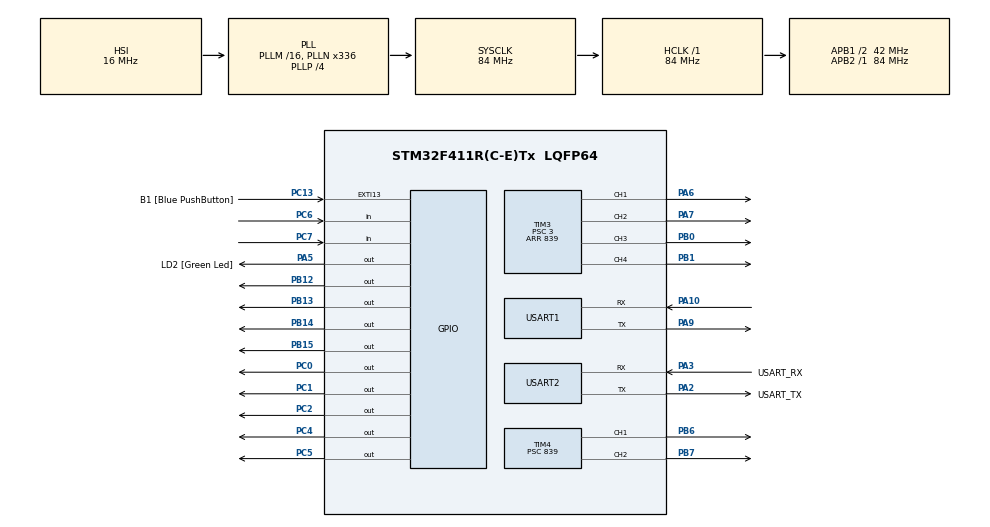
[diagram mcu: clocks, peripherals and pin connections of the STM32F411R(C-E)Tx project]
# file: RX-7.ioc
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Mcu.Family=STM32F4
Mcu.Name=STM32F411R(C-E)Tx
Mcu.Package=LQFP64
NVIC.EXTI15_10_IRQn=true\:0\:1\:true\:false\:true\:true\:true\:true
NVIC.PriorityGroup=NVIC_PRIORITYGROUP_0
NVIC.USART1_IRQn=true\:0\:0\:false\:false\:true\:true\:true\:true
PA10.Mode=Asynchronous
PA10.Signal=USART1_RX
PA13.GPIO_Label=TMS
PA13.Mode=Serial_Wire
PA13.Signal=SYS_JTMS-SWDIO
PA14.GPIO_Label=TCK
PA14.Mode=Serial_Wire
PA14.Signal=SYS_JTCK-SWCLK
PA2.GPIO_Label=USART_TX
PA2.Mode=Asynchronous
PA2.Signal=USART2_TX
PA3.GPIO_Label=USART_RX
PA3.Mode=Asynchronous
PA3.Signal=USART2_RX
PA5.GPIO_Label=LD2 [Green Led]
PA5.Signal=GPIO_Output
PA6.Signal=S_TIM3_CH1
PA7.Signal=S_TIM3_CH2
PA9.Mode=Asynchronous
PA9.Signal=USART1_TX
PB0.Signal=S_TIM3_CH3
PB1.Signal=S_TIM3_CH4
PB12.GPIO_PuPd=GPIO_PULLDOWN
PB12.Signal=GPIO_Output
PB13.GPIO_PuPd=GPIO_PULLDOWN
PB13.Signal=GPIO_Output
PB14.GPIO_PuPd=GPIO_PULLDOWN
PB14.Signal=GPIO_Output
PB15.GPIO_PuPd=GPIO_PULLDOWN
PB15.Signal=GPIO_Output
PB3.GPIO_Label=SWO
PB3.Signal=SYS_JTDO-SWO
PB6.Signal=S_TIM4_CH1
PB7.Signal=S_TIM4_CH2
PC0.GPIO_PuPd=GPIO_PULLDOWN
PC0.Signal=GPIO_Output
PC1.GPIO_PuPd=GPIO_PULLDOWN
PC1.Signal=GPIO_Output
PC13-ANTI_TAMP.GPIO_Label=B1 [Blue PushButton]
PC13-ANTI_TAMP.GPIO_ModeDefaultEXTI=GPIO_MODE_IT_FALLING
PC13-ANTI_TAMP.Signal=GPXTI13
PC14-OSC32_IN.Mode=LSE-External-Oscillator
PC14-OSC32_IN.Signal=RCC_OSC32_IN
PC15-OSC32_OUT.Mode=LSE-External-Oscillator
PC15-OSC32_OUT.Signal=RCC_OSC32_OUT
PC2.GPIO_PuPd=GPIO_PULLDOWN
PC2.Signal=GPIO_Output
PC4.GPIO_PuPd=GPIO_PULLDOWN
PC4.Signal=GPIO_Output
PC5.GPIO_PuPd=GPIO_PULLDOWN
PC5.Signal=GPIO_Output
PC6.GPIO_PuPd=GPIO_PULLUP
PC6.Signal=GPIO_Input
PC7.GPIO_PuPd=GPIO_PULLUP
PC7.Signal=GPIO_Input
PH0\ -\ OSC_IN.Mode=HSE-External-Clock-Source
PH0\ -\ OSC_IN.Signal=RCC_OSC_IN
PH1\ -\ OSC_OUT.Mode=HSE-External-Clock-Source
PH1\ -\ OSC_OUT.Signal=RCC_OSC_OUT
ProjectManager.HeapSize=0x200
ProjectManager.StackSize=0x400
ProjectManager.TargetToolchain=MDK-ARM V5.32
RCC.48MHZClocksFreq_Value=84000000
RCC.AHBFreq_Value=84000000
RCC.APB1CLKDivider=RCC_HCLK_DIV2
RCC.APB1Freq_Value=42000000
RCC.APB1TimFreq_Value=84000000
RCC.APB2Freq_Value=84000000
RCC.APB2TimFreq_Value=84000000
RCC.CortexFreq_Value=84000000
RCC.FLatency-AdvancedSettings=FLASH_LATENCY_2
RCC.HCLKFreq_Value=84000000
RCC.HSE_VALUE=8000000
RCC.HSI_VALUE=16000000
RCC.PLLN=336
RCC.PLLP=RCC_PLLP_DIV4
RCC.SYSCLKFreq_VALUE=84000000
RCC.SYSCLKSource=RCC_SYSCLKSOURCE_PLLCLK
RCC.VCOOutputFreq_Value=336000000
SH.S_TIM3_CH1.0=TIM3_CH1,PWM Generation1 CH1
SH.S_TIM3_CH2.0=TIM3_CH2,PWM Generation2 CH2
SH.S_TIM3_CH3.0=TIM3_CH3,PWM Generation3 CH3
SH.S_TIM3_CH4.0=TIM3_CH4,PWM Generation4 CH4
SH.S_TIM4_CH1.0=TIM4_CH1,PWM Generation1 CH1
SH.S_TIM4_CH2.0=TIM4_CH2,PWM Generation2 CH2
TIM3.Channel-PWM\ Generation1\ CH1=TIM_CHANNEL_1
TIM3.Channel-PWM\ Generation2\ CH2=TIM_CHANNEL_2
TIM3.Channel-PWM\ Generation3\ CH3=TIM_CHANNEL_3
TIM3.Channel-PWM\ Generation4\ CH4=TIM_CHANNEL_4
TIM3.Period=839
TIM3.Prescaler=3
TIM4.Channel-PWM\ Generation1\ CH1=TIM_CHANNEL_1
TIM4.Channel-PWM\ Generation2\ CH2=TIM_CHANNEL_2
TIM4.Period=1999
TIM4.Prescaler=839
USART1.VirtualMode=VM_ASYNC
USART2.VirtualMode=VM_ASYNC
VP_TIM3_VS_ClockSourceINT.Mode=Internal
VP_TIM4_VS_ClockSourceINT.Mode=Internal
board=NUCLEO-F411RE

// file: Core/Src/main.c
/* USER CODE BEGIN Header */
/**
  ******************************************************************************
  * @file           : main.c
  * @brief          : Main program body
  ******************************************************************************
  * @attention
  *
  * Copyright (c) 2023 STMicroelectronics.
  * All rights reserved.
  *
  * This software is licensed under terms that can be found in the LICENSE file
  * in the root directory of this software component.
  * If no LICENSE file comes with this software, it is provided AS-IS.
  *
  ******************************************************************************
  */
/* USER CODE END Header */
#include "main.h"

/* USER CODE BEGIN Includes */
#include <string.h>
#include <stdio.h>
/* USER CODE END Includes */

TIM_HandleTypeDef htim3;
TIM_HandleTypeDef htim4;

UART_HandleTypeDef huart1;
UART_HandleTypeDef huart2;

void SystemClock_Config(void);
static void MX_GPIO_Init(void);
static void MX_USART2_UART_Init(void);
static void MX_USART1_UART_Init(void);
static void MX_TIM3_Init(void);
static void MX_TIM4_Init(void);
/* USER CODE BEGIN PFP */
uint8_t buffer[50];
uint8_t data=0;
int data1 = 1950; // van de
int data2 = 2040; // 2 van de
int mode = 0;
int trai = 0;
int phai = 0;
int len = 0;
uint8_t count_data=0;
uint8_t check = 0;
uint8_t set = 0;
int xuong = 0;
int servo = 0;
/* USER CODE END PFP */

int main(void)
{

  /* MCU Configuration--------------------------------------------------------*/

  /* Reset of all peripherals, Initializes the Flash interface and the Systick. */
  HAL_Init();

  /* Configure the system clock */
  SystemClock_Config();

  /* Initialize all configured peripherals */
  MX_GPIO_Init();
  MX_USART2_UART_Init();
  MX_USART1_UART_Init();
  MX_TIM3_Init();
  MX_TIM4_Init();
  /* USER CODE BEGIN 2 */
  HAL_UART_Receive_IT(&huart1, &data, 1);
	HAL_TIM_PWM_Start(&htim3, TIM_CHANNEL_1);
	HAL_TIM_PWM_Start(&htim3, TIM_CHANNEL_2);
	HAL_TIM_PWM_Start(&htim3, TIM_CHANNEL_3);
		HAL_TIM_PWM_Start(&htim3, TIM_CHANNEL_4);
	HAL_TIM_PWM_Start(&htim4, TIM_CHANNEL_1);
	HAL_TIM_PWM_Start(&htim4, TIM_CHANNEL_2);
	  __HAL_TIM_SET_COMPARE(&htim4,TIM_CHANNEL_1,150);  // tim 1 tang tim 2 giam nha
			__HAL_TIM_SET_COMPARE(&htim4,TIM_CHANNEL_2,150);  // tim 1 gima tim 2 tang gap
  /* USER CODE END 2 */

  /* Infinite loop */
  while (1)
  {

    /* USER CODE BEGIN 3 */

// tien lui
if(mode%2==0) {
	 if(data1>=3000)
	  {
			HAL_GPIO_WritePin(GPIOC,GPIO_PIN_0,0);
			HAL_GPIO_WritePin(GPIOC,GPIO_PIN_1,1);
			HAL_GPIO_WritePin(GPIOC,GPIO_PIN_2,1);
			HAL_GPIO_WritePin(GPIOC,GPIO_PIN_4,0);
			HAL_GPIO_WritePin(GPIOC,GPIO_PIN_5,1);
		  __HAL_TIM_SET_COMPARE(&htim3,TIM_CHANNEL_1,(data1-1500)/6);  // banh phai
			__HAL_TIM_SET_COMPARE(&htim3,TIM_CHANNEL_2,(data1-1600)/6);  // banh trai

	  }
	  if((data1>1000&&data1<3000)&&(data2 > 1000 && data2 < 3000))
	  {
		  __HAL_TIM_SET_COMPARE(&htim3,TIM_CHANNEL_1,0);
			__HAL_TIM_SET_COMPARE(&htim3,TIM_CHANNEL_2,0);
			HAL_GPIO_WritePin(GPIOC,GPIO_PIN_0,0);
			HAL_GPIO_WritePin(GPIOC,GPIO_PIN_1,0);
			HAL_GPIO_WritePin(GPIOC,GPIO_PIN_2,1);
			HAL_GPIO_WritePin(GPIOC,GPIO_PIN_4,0);
			HAL_GPIO_WritePin(GPIOC,GPIO_PIN_5,0);
	  }
		if(data1<=1000) {
			__HAL_TIM_SET_COMPARE(&htim3,TIM_CHANNEL_1,(1850-data1)/4); //banh phai
			__HAL_TIM_SET_COMPARE(&htim3,TIM_CHANNEL_2,(1920-data1)/4); // banh trai
			HAL_GPIO_WritePin(GPIOC,GPIO_PIN_0,1);
			HAL_GPIO_WritePin(GPIOC,GPIO_PIN_1,0);
			HAL_GPIO_WritePin(GPIOC,GPIO_PIN_2,1);
			HAL_GPIO_WritePin(GPIOC,GPIO_PIN_4,1);
			HAL_GPIO_WritePin(GPIOC,GPIO_PIN_5,0);
		}
		if(data2<1000 && data1<1000) {
			__HAL_TIM_SET_COMPARE(&htim3,TIM_CHANNEL_1,(1920-data1)/3);
			__HAL_TIM_SET_COMPARE(&htim3,TIM_CHANNEL_2,(1920-data1)/11);
			HAL_GPIO_WritePin(GPIOC,GPIO_PIN_0,1); // dc1
			HAL_GPIO_WritePin(GPIOC,GPIO_PIN_1,0);//
			HAL_GPIO_WritePin(GPIOC,GPIO_PIN_2,1);
			HAL_GPIO_WritePin(GPIOC,GPIO_PIN_4,1); //dc2
			HAL_GPIO_WritePin(GPIOC,GPIO_PIN_5,0);//
		}
		if(data2>3000 && data1<1000) {
			__HAL_TIM_SET_COMPARE(&htim3,TIM_CHANNEL_1,(1920-data1)/11);
			__HAL_TIM_SET_COMPARE(&htim3,TIM_CHANNEL_2,(1920-data1)/3);
			HAL_GPIO_WritePin(GPIOC,GPIO_PIN_0,1); // dc1
			HAL_GPIO_WritePin(GPIOC,GPIO_PIN_1,0);//
			HAL_GPIO_WritePin(GPIOC,GPIO_PIN_2,1);
			HAL_GPIO_WritePin(GPIOC,GPIO_PIN_4,1); //dc2
			HAL_GPIO_WritePin(GPIOC,GPIO_PIN_5,0);//
		}

		if(data2>=3000 && (data1>1000&&data1<3000)) {
			__HAL_TIM_SET_COMPARE(&htim3,TIM_CHANNEL_1,(data2-2050)/8);
			__HAL_TIM_SET_COMPARE(&htim3,TIM_CHANNEL_2,(data2-2050)/8);
			HAL_GPIO_WritePin(GPIOC,GPIO_PIN_0,0); // dc1
			HAL_GPIO_WritePin(GPIOC,GPIO_PIN_1,1);//
			HAL_GPIO_WritePin(GPIOC,GPIO_PIN_2,1);
			HAL_GPIO_WritePin(GPIOC,GPIO_PIN_4,1); //dc2
			HAL_GPIO_WritePin(GPIOC,GPIO_PIN_5,0);//
		}
		if(data2<=1000 && (data1>1000&&data1<3000)){
			__HAL_TIM_SET_COMPARE(&htim3,TIM_CHANNEL_1,(2050-data2)/8);
			__HAL_TIM_SET_COMPARE(&htim3,TIM_CHANNEL_2,(2050-data2)/8);
			HAL_GPIO_WritePin(GPIOC,GPIO_PIN_0,1); // dc1
			HAL_GPIO_WritePin(GPIOC,GPIO_PIN_1,0);//
			HAL_GPIO_WritePin(GPIOC,GPIO_PIN_2,1);
			HAL_GPIO_WritePin(GPIOC,GPIO_PIN_4,0); //dc2
			HAL_GPIO_WritePin(GPIOC,GPIO_PIN_5,1);//
}
	}
	if(mode%2==1) {
			if(data1>=3000)
	  {
			HAL_GPIO_WritePin(GPIOC,GPIO_PIN_0,0);
			HAL_GPIO_WritePin(GPIOC,GPIO_PIN_1,1);
			HAL_GPIO_WritePin(GPIOC,GPIO_PIN_2,1);
			HAL_GPIO_WritePin(GPIOC,GPIO_PIN_4,0);
			HAL_GPIO_WritePin(GPIOC,GPIO_PIN_5,1);
		  __HAL_TIM_SET_COMPARE(&htim3,TIM_CHANNEL_1,(data1-3000)/8);
			__HAL_TIM_SET_COMPARE(&htim3,TIM_CHANNEL_2,(data1-3000)/8);

	  }
	  if((data1>1000&&data1<3000)&&(data2 > 1000 && data2 < 3000))
	  {
		  __HAL_TIM_SET_COMPARE(&htim3,TIM_CHANNEL_1,0);
			__HAL_TIM_SET_COMPARE(&htim3,TIM_CHANNEL_2,0);
			HAL_GPIO_WritePin(GPIOC,GPIO_PIN_0,0);
			HAL_GPIO_WritePin(GPIOC,GPIO_PIN_1,0);
			HAL_GPIO_WritePin(GPIOC,GPIO_PIN_2,1);
			HAL_GPIO_WritePin(GPIOC,GPIO_PIN_4,0);
			HAL_GPIO_WritePin(GPIOC,GPIO_PIN_5,0);
	  }
		if(data1<=1000) {
			__HAL_TIM_SET_COMPARE(&htim3,TIM_CHANNEL_1,(1000-data1)/8);
			__HAL_TIM_SET_COMPARE(&htim3,TIM_CHANNEL_2,(1000-data1)/8);
			HAL_GPIO_WritePin(GPIOC,GPIO_PIN_0,1);
			HAL_GPIO_WritePin(GPIOC,GPIO_PIN_1,0);
			HAL_GPIO_WritePin(GPIOC,GPIO_PIN_2,1);
			HAL_GPIO_WritePin(GPIOC,GPIO_PIN_4,1);
			HAL_GPIO_WritePin(GPIOC,GPIO_PIN_5,0);
		}
				if(data2>=3000 && (data1>1000&&data1<3000)) {
			__HAL_TIM_SET_COMPARE(&htim3,TIM_CHANNEL_1,(data2-2050)/13);
			__HAL_TIM_SET_COMPARE(&htim3,TIM_CHANNEL_2,(data2-2050)/13);
			HAL_GPIO_WritePin(GPIOC,GPIO_PIN_0,0); // dc1
			HAL_GPIO_WritePin(GPIOC,GPIO_PIN_1,1);//
			HAL_GPIO_WritePin(GPIOC,GPIO_PIN_2,1);
			HAL_GPIO_WritePin(GPIOC,GPIO_PIN_4,1); //dc2
			HAL_GPIO_WritePin(GPIOC,GPIO_PIN_5,0);//
		}
		if(data2<=1000 && (data1>1000&&data1<3000)){
			__HAL_TIM_SET_COMPARE(&htim3,TIM_CHANNEL_1,(2050-data2)/13);
			__HAL_TIM_SET_COMPARE(&htim3,TIM_CHANNEL_2,(2050-data2)/13);
			HAL_GPIO_WritePin(GPIOC,GPIO_PIN_0,1); // dc1
			HAL_GPIO_WritePin(GPIOC,GPIO_PIN_1,0);//
			HAL_GPIO_WritePin(GPIOC,GPIO_PIN_2,1);
			HAL_GPIO_WritePin(GPIOC,GPIO_PIN_4,0); //dc2
			HAL_GPIO_WritePin(GPIOC,GPIO_PIN_5,1);//
}
}

//// Trai phai banh xe
//		if(data2>=3000 && (data1>1000&&data1<3000)) {
//			__HAL_TIM_SET_COMPARE(&htim3,TIM_CHANNEL_1,(data2-2050)/9);
//			__HAL_TIM_SET_COMPARE(&htim3,TIM_CHANNEL_2,(data2-2050)/9);
//			HAL_GPIO_WritePin(GPIOC,GPIO_PIN_0,0); // dc1
//			HAL_GPIO_WritePin(GPIOC,GPIO_PIN_1,1);//
//			HAL_GPIO_WritePin(GPIOC,GPIO_PIN_2,1);
//			HAL_GPIO_WritePin(GPIOC,GPIO_PIN_4,1); //dc2
//			HAL_GPIO_WritePin(GPIOC,GPIO_PIN_5,0);//
//		}
//		if(data2<=1000 && (data1>1000&&data1<3000)){
//			__HAL_TIM_SET_COMPARE(&htim3,TIM_CHANNEL_1,(2050-data2)/9);
//			__HAL_TIM_SET_COMPARE(&htim3,TIM_CHANNEL_2,(2050-data2)/9);
//			HAL_GPIO_WritePin(GPIOC,GPIO_PIN_0,1); // dc1
//			HAL_GPIO_WritePin(GPIOC,GPIO_PIN_1,0);//
//			HAL_GPIO_WritePin(GPIOC,GPIO_PIN_2,1);
//			HAL_GPIO_WritePin(GPIOC,GPIO_PIN_4,0); //dc2
//			HAL_GPIO_WritePin(GPIOC,GPIO_PIN_5,1);//
//}

// trai phai truc gap bong
		if(trai == 1) {
			__HAL_TIM_SET_COMPARE(&htim3,TIM_CHANNEL_3,400);
			HAL_GPIO_WritePin(GPIOB,GPIO_PIN_12,0);
			HAL_GPIO_WritePin(GPIOB,GPIO_PIN_13,1);
			HAL_GPIO_WritePin(GPIOC,GPIO_PIN_2,1);
		}
	  if(phai == 1 ) {
			__HAL_TIM_SET_COMPARE(&htim3,TIM_CHANNEL_3,400);
			HAL_GPIO_WritePin(GPIOB,GPIO_PIN_12,1);
			HAL_GPIO_WritePin(GPIOB,GPIO_PIN_13,0);
			HAL_GPIO_WritePin(GPIOC,GPIO_PIN_2,1);
		}
		if(phai == 0 && trai == 0 ) {
			__HAL_TIM_SET_COMPARE(&htim3,TIM_CHANNEL_3,0);
			HAL_GPIO_WritePin(GPIOB,GPIO_PIN_12,0);
			HAL_GPIO_WritePin(GPIOB,GPIO_PIN_13,1);
			HAL_GPIO_WritePin(GPIOC,GPIO_PIN_2,1);
		}
//len xuong
		if(len == 1 && xuong == 0) {
			if(HAL_GPIO_ReadPin(GPIOC,GPIO_PIN_7) == 0) {
			__HAL_TIM_SET_COMPARE(&htim3,TIM_CHANNEL_4,0);
			HAL_GPIO_WritePin(GPIOB,GPIO_PIN_14,0);
			HAL_GPIO_WritePin(GPIOB,GPIO_PIN_15,1);
			HAL_GPIO_WritePin(GPIOC,GPIO_PIN_2,1);
			//	set = 1;
			}
			else{
				while(HAL_GPIO_ReadPin(GPIOC,GPIO_PIN_7) != 0) {
				__HAL_TIM_SET_COMPARE(&htim3,TIM_CHANNEL_4,1800);
			HAL_GPIO_WritePin(GPIOB,GPIO_PIN_14,0);
			HAL_GPIO_WritePin(GPIOB,GPIO_PIN_15,1);
			HAL_GPIO_WritePin(GPIOC,GPIO_PIN_2,1);
				}
			}
		}
		if(len == 0 && xuong == 1) {
			if(HAL_GPIO_ReadPin(GPIOC,GPIO_PIN_6) == 0) {
			__HAL_TIM_SET_COMPARE(&htim3,TIM_CHANNEL_4,0);
			HAL_GPIO_WritePin(GPIOB,GPIO_PIN_14,1);
			HAL_GPIO_WritePin(GPIOB,GPIO_PIN_15,0);
			HAL_GPIO_WritePin(GPIOC,GPIO_PIN_2,1);
			}
			else{
				while(HAL_GPIO_ReadPin(GPIOC,GPIO_PIN_6) != 0) {
				__HAL_TIM_SET_COMPARE(&htim3,TIM_CHANNEL_4,1200);
			HAL_GPIO_WritePin(GPIOB,GPIO_PIN_14,1);
			HAL_GPIO_WritePin(GPIOB,GPIO_PIN_15,0);
			HAL_GPIO_WritePin(GPIOC,GPIO_PIN_2,1);
				}
			}
		}
		if(len == 0 && xuong == 0) {
			__HAL_TIM_SET_COMPARE(&htim3,TIM_CHANNEL_4,0);
			HAL_GPIO_WritePin(GPIOB,GPIO_PIN_14,0);
			HAL_GPIO_WritePin(GPIOB,GPIO_PIN_15,1);
			HAL_GPIO_WritePin(GPIOC,GPIO_PIN_2,1);
		}

	// gap bong
		if(servo == 1) {

		  __HAL_TIM_SET_COMPARE(&htim4,TIM_CHANNEL_1,180);
			__HAL_TIM_SET_COMPARE(&htim4,TIM_CHANNEL_2,120);
		}
		if(servo == 2) {
			__HAL_TIM_SET_COMPARE(&htim4,TIM_CHANNEL_1,120);
			__HAL_TIM_SET_COMPARE(&htim4,TIM_CHANNEL_2,180);
		}
		if(servo == 0) {
			__HAL_TIM_SET_COMPARE(&htim4,TIM_CHANNEL_1,0);
			__HAL_TIM_SET_COMPARE(&htim4,TIM_CHANNEL_2,0);
		}
}
  /* USER CODE END 3 */
}

void SystemClock_Config(void)
{
  RCC_OscInitTypeDef RCC_OscInitStruct = {0};
  RCC_ClkInitTypeDef RCC_ClkInitStruct = {0};

  /** Configure the main internal regulator output voltage
  */
  __HAL_RCC_PWR_CLK_ENABLE();
  __HAL_PWR_VOLTAGESCALING_CONFIG(PWR_REGULATOR_VOLTAGE_SCALE1);

  /** Initializes the RCC Oscillators according to the specified parameters
  * in the RCC_OscInitTypeDef structure.
  */
  RCC_OscInitStruct.OscillatorType = RCC_OSCILLATORTYPE_HSI;
  RCC_OscInitStruct.HSIState = RCC_HSI_ON;
  RCC_OscInitStruct.HSICalibrationValue = RCC_HSICALIBRATION_DEFAULT;
  RCC_OscInitStruct.PLL.PLLState = RCC_PLL_ON;
  RCC_OscInitStruct.PLL.PLLSource = RCC_PLLSOURCE_HSI;
  RCC_OscInitStruct.PLL.PLLM = 16;
  RCC_OscInitStruct.PLL.PLLN = 336;
  RCC_OscInitStruct.PLL.PLLP = RCC_PLLP_DIV4;
  RCC_OscInitStruct.PLL.PLLQ = 4;
  if (HAL_RCC_OscConfig(&RCC_OscInitStruct) != HAL_OK)
  {
    Error_Handler();
  }

  /** Initializes the CPU, AHB and APB buses clocks
  */
  RCC_ClkInitStruct.ClockType = RCC_CLOCKTYPE_HCLK|RCC_CLOCKTYPE_SYSCLK
                              |RCC_CLOCKTYPE_PCLK1|RCC_CLOCKTYPE_PCLK2;
  RCC_ClkInitStruct.SYSCLKSource = RCC_SYSCLKSOURCE_PLLCLK;
  RCC_ClkInitStruct.AHBCLKDivider = RCC_SYSCLK_DIV1;
  RCC_ClkInitStruct.APB1CLKDivider = RCC_HCLK_DIV2;
  RCC_ClkInitStruct.APB2CLKDivider = RCC_HCLK_DIV1;

  if (HAL_RCC_ClockConfig(&RCC_ClkInitStruct, FLASH_LATENCY_2) != HAL_OK)
  {
    Error_Handler();
  }
}

static void MX_TIM3_Init(void)
{

  TIM_ClockConfigTypeDef sClockSourceConfig = {0};
  TIM_MasterConfigTypeDef sMasterConfig = {0};
  TIM_OC_InitTypeDef sConfigOC = {0};

  htim3.Instance = TIM3;
  htim3.Init.Prescaler = 3;
  htim3.Init.CounterMode = TIM_COUNTERMODE_UP;
  htim3.Init.Period = 839;
  htim3.Init.ClockDivision = TIM_CLOCKDIVISION_DIV1;
  htim3.Init.AutoReloadPreload = TIM_AUTORELOAD_PRELOAD_DISABLE;
  if (HAL_TIM_Base_Init(&htim3) != HAL_OK)
  {
    Error_Handler();
  }
  sClockSourceConfig.ClockSource = TIM_CLOCKSOURCE_INTERNAL;
  if (HAL_TIM_ConfigClockSource(&htim3, &sClockSourceConfig) != HAL_OK)
  {
    Error_Handler();
  }
  if (HAL_TIM_PWM_Init(&htim3) != HAL_OK)
  {
    Error_Handler();
  }
  sMasterConfig.MasterOutputTrigger = TIM_TRGO_RESET;
  sMasterConfig.MasterSlaveMode = TIM_MASTERSLAVEMODE_DISABLE;
  if (HAL_TIMEx_MasterConfigSynchronization(&htim3, &sMasterConfig) != HAL_OK)
  {
    Error_Handler();
  }
  sConfigOC.OCMode = TIM_OCMODE_PWM1;
  sConfigOC.Pulse = 0;
  sConfigOC.OCPolarity = TIM_OCPOLARITY_HIGH;
  sConfigOC.OCFastMode = TIM_OCFAST_DISABLE;
  if (HAL_TIM_PWM_ConfigChannel(&htim3, &sConfigOC, TIM_CHANNEL_1) != HAL_OK)
  {
    Error_Handler();
  }
  if (HAL_TIM_PWM_ConfigChannel(&htim3, &sConfigOC, TIM_CHANNEL_2) != HAL_OK)
  {
    Error_Handler();
  }
  if (HAL_TIM_PWM_ConfigChannel(&htim3, &sConfigOC, TIM_CHANNEL_3) != HAL_OK)
  {
    Error_Handler();
  }
  if (HAL_TIM_PWM_ConfigChannel(&htim3, &sConfigOC, TIM_CHANNEL_4) != HAL_OK)
  {
    Error_Handler();
  }
  HAL_TIM_MspPostInit(&htim3);

}

static void MX_TIM4_Init(void)
{

  TIM_ClockConfigTypeDef sClockSourceConfig = {0};
  TIM_MasterConfigTypeDef sMasterConfig = {0};
  TIM_OC_InitTypeDef sConfigOC = {0};

  htim4.Instance = TIM4;
  htim4.Init.Prescaler = 839;
  htim4.Init.CounterMode = TIM_COUNTERMODE_UP;
  htim4.Init.Period = 1999;
  htim4.Init.ClockDivision = TIM_CLOCKDIVISION_DIV1;
  htim4.Init.AutoReloadPreload = TIM_AUTORELOAD_PRELOAD_DISABLE;
  if (HAL_TIM_Base_Init(&htim4) != HAL_OK)
  {
    Error_Handler();
  }
  sClockSourceConfig.ClockSource = TIM_CLOCKSOURCE_INTERNAL;
  if (HAL_TIM_ConfigClockSource(&htim4, &sClockSourceConfig) != HAL_OK)
  {
    Error_Handler();
  }
  if (HAL_TIM_PWM_Init(&htim4) != HAL_OK)
  {
    Error_Handler();
  }
  sMasterConfig.MasterOutputTrigger = TIM_TRGO_RESET;
  sMasterConfig.MasterSlaveMode = TIM_MASTERSLAVEMODE_DISABLE;
  if (HAL_TIMEx_MasterConfigSynchronization(&htim4, &sMasterConfig) != HAL_OK)
  {
    Error_Handler();
  }
  sConfigOC.OCMode = TIM_OCMODE_PWM1;
  sConfigOC.Pulse = 0;
  sConfigOC.OCPolarity = TIM_OCPOLARITY_HIGH;
  sConfigOC.OCFastMode = TIM_OCFAST_DISABLE;
  if (HAL_TIM_PWM_ConfigChannel(&htim4, &sConfigOC, TIM_CHANNEL_1) != HAL_OK)
  {
    Error_Handler();
  }
  if (HAL_TIM_PWM_ConfigChannel(&htim4, &sConfigOC, TIM_CHANNEL_2) != HAL_OK)
  {
    Error_Handler();
  }
  HAL_TIM_MspPostInit(&htim4);

}

static void MX_USART1_UART_Init(void)
{

  huart1.Instance = USART1;
  huart1.Init.BaudRate = 115200;
  huart1.Init.WordLength = UART_WORDLENGTH_8B;
  huart1.Init.StopBits = UART_STOPBITS_1;
  huart1.Init.Parity = UART_PARITY_NONE;
  huart1.Init.Mode = UART_MODE_TX_RX;
  huart1.Init.HwFlowCtl = UART_HWCONTROL_NONE;
  huart1.Init.OverSampling = UART_OVERSAMPLING_16;
  if (HAL_UART_Init(&huart1) != HAL_OK)
  {
    Error_Handler();
  }

}

static void MX_USART2_UART_Init(void)
{

  huart2.Instance = USART2;
  huart2.Init.BaudRate = 115200;
  huart2.Init.WordLength = UART_WORDLENGTH_8B;
  huart2.Init.StopBits = UART_STOPBITS_1;
  huart2.Init.Parity = UART_PARITY_NONE;
  huart2.Init.Mode = UART_MODE_TX_RX;
  huart2.Init.HwFlowCtl = UART_HWCONTROL_NONE;
  huart2.Init.OverSampling = UART_OVERSAMPLING_16;
  if (HAL_UART_Init(&huart2) != HAL_OK)
  {
    Error_Handler();
  }

}

static void MX_GPIO_Init(void)
{
  GPIO_InitTypeDef GPIO_InitStruct = {0};

  /* GPIO Ports Clock Enable */
  __HAL_RCC_GPIOC_CLK_ENABLE();
  __HAL_RCC_GPIOH_CLK_ENABLE();
  __HAL_RCC_GPIOA_CLK_ENABLE();
  __HAL_RCC_GPIOB_CLK_ENABLE();

  /*Configure GPIO pin Output Level */
  HAL_GPIO_WritePin(GPIOC, GPIO_PIN_0|GPIO_PIN_1|GPIO_PIN_2|GPIO_PIN_4
                          |GPIO_PIN_5, GPIO_PIN_RESET);

  /*Configure GPIO pin Output Level */
  HAL_GPIO_WritePin(LD2_GPIO_Port, LD2_Pin, GPIO_PIN_RESET);

  /*Configure GPIO pin Output Level */
  HAL_GPIO_WritePin(GPIOB, GPIO_PIN_12|GPIO_PIN_13|GPIO_PIN_14|GPIO_PIN_15, GPIO_PIN_RESET);

  /*Configure GPIO pin : B1_Pin */
  GPIO_InitStruct.Pin = B1_Pin;
  GPIO_InitStruct.Mode = GPIO_MODE_IT_FALLING;
  GPIO_InitStruct.Pull = GPIO_NOPULL;
  HAL_GPIO_Init(B1_GPIO_Port, &GPIO_InitStruct);

  /*Configure GPIO pins : PC0 PC1 PC2 PC4
                           PC5 */
  GPIO_InitStruct.Pin = GPIO_PIN_0|GPIO_PIN_1|GPIO_PIN_2|GPIO_PIN_4
                          |GPIO_PIN_5;
  GPIO_InitStruct.Mode = GPIO_MODE_OUTPUT_PP;
  GPIO_InitStruct.Pull = GPIO_PULLDOWN;
  GPIO_InitStruct.Speed = GPIO_SPEED_FREQ_LOW;
  HAL_GPIO_Init(GPIOC, &GPIO_InitStruct);

  /*Configure GPIO pin : LD2_Pin */
  GPIO_InitStruct.Pin = LD2_Pin;
  GPIO_InitStruct.Mode = GPIO_MODE_OUTPUT_PP;
  GPIO_InitStruct.Pull = GPIO_NOPULL;
  GPIO_InitStruct.Speed = GPIO_SPEED_FREQ_LOW;
  HAL_GPIO_Init(LD2_GPIO_Port, &GPIO_InitStruct);

  /*Configure GPIO pins : PB12 PB13 PB14 PB15 */
  GPIO_InitStruct.Pin = GPIO_PIN_12|GPIO_PIN_13|GPIO_PIN_14|GPIO_PIN_15;
  GPIO_InitStruct.Mode = GPIO_MODE_OUTPUT_PP;
  GPIO_InitStruct.Pull = GPIO_PULLDOWN;
  GPIO_InitStruct.Speed = GPIO_SPEED_FREQ_LOW;
  HAL_GPIO_Init(GPIOB, &GPIO_InitStruct);

  /*Configure GPIO pins : PC6 PC7 */
  GPIO_InitStruct.Pin = GPIO_PIN_6|GPIO_PIN_7;
  GPIO_InitStruct.Mode = GPIO_MODE_INPUT;
  GPIO_InitStruct.Pull = GPIO_PULLUP;
  HAL_GPIO_Init(GPIOC, &GPIO_InitStruct);

  /* EXTI interrupt init*/
  HAL_NVIC_SetPriority(EXTI15_10_IRQn, 0, 1);
  HAL_NVIC_EnableIRQ(EXTI15_10_IRQn);

}

/* USER CODE BEGIN 4 */
void HAL_UART_RxCpltCallback(UART_HandleTypeDef *huart)
{
	if(huart->Instance == huart1.Instance)
	{
		buffer[count_data] = data;
		if(buffer[count_data]=='a')
		{
			sscanf((const char *)buffer, "%d,%d,%d,%d,%d,%d,%d,%d", &data1,&data2,&mode,&trai,&phai,&len,&xuong,&servo);
			memset(buffer, 0, sizeof(buffer));
			count_data = 0;
		}
		else
		{
			count_data++;
		}
		HAL_UART_Receive_IT(&huart1, &data, 1);

	}
}
/* USER CODE END 4 */

void Error_Handler(void)
{
  __disable_irq();
  while (1)
  {
  }
}
